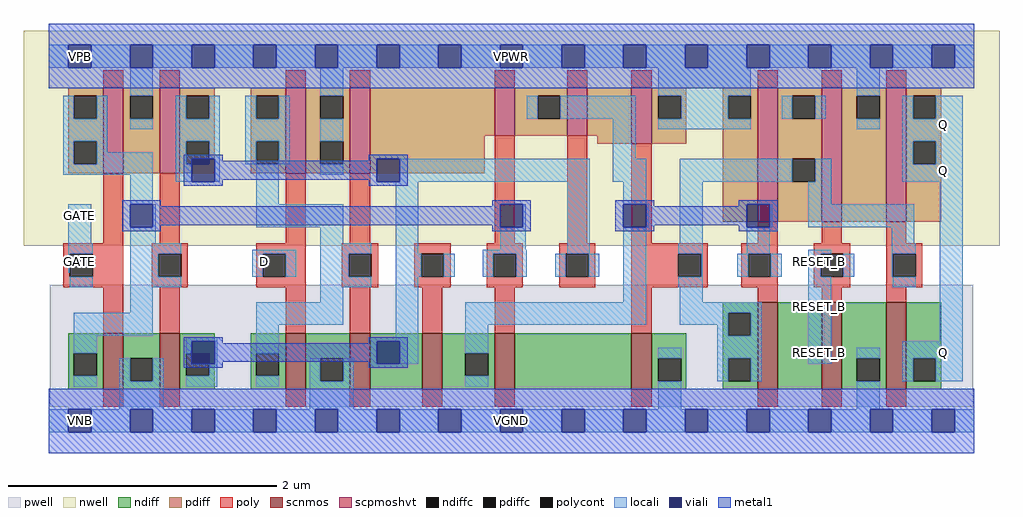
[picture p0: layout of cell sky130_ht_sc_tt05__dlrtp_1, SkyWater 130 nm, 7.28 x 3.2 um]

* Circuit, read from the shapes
.subckt sky130_ht_sc_tt05__dlrtp_1 D GATE RESET_B VGND VNB VPB VPWR Q
XM1 VGND GATE n1 VNB sky130_fd_pr__nfet_01v8 w=0.42 l=0.15
XM2 n2 n1 VGND VNB sky130_fd_pr__nfet_01v8 w=0.42 l=0.15
XM3 VGND D n3 VNB sky130_fd_pr__nfet_01v8 w=0.42 l=0.15
XM4 n4 n3 VGND VNB sky130_fd_pr__nfet_01v8 w=0.42 l=0.15
XM5 n5 n2 n4 VNB sky130_fd_pr__nfet_01v8 w=0.42 l=0.15
XM6 n6 n1 n5 VNB sky130_fd_pr__nfet_01v8 w=0.42 l=0.15
XM7 VGND n7 n6 VNB sky130_fd_pr__nfet_01v8 w=0.42 l=0.15
XM8 n8 n5 n7 VNB sky130_fd_pr__nfet_01v8 w=0.65 l=0.15
XM9 VGND RESET_B n8 VNB sky130_fd_pr__nfet_01v8 w=0.65 l=0.15
XM10 Q n7 VGND VNB sky130_fd_pr__nfet_01v8 w=0.65 l=0.15
XM11 VPWR GATE n1 VPB sky130_fd_pr__pfet_01v8_hvt w=0.64 l=0.15
XM12 n2 n1 VPWR VPB sky130_fd_pr__pfet_01v8_hvt w=0.64 l=0.15
XM13 VPWR D n3 VPB sky130_fd_pr__pfet_01v8_hvt w=0.64 l=0.15
XM14 n9 n3 VPWR VPB sky130_fd_pr__pfet_01v8_hvt w=0.64 l=0.15
XM15 n5 n1 n9 VPB sky130_fd_pr__pfet_01v8_hvt w=0.36 l=0.15
XM16 n10 n2 n5 VPB sky130_fd_pr__pfet_01v8_hvt w=0.36 l=0.15
XM17 VPWR n7 n10 VPB sky130_fd_pr__pfet_01v8_hvt w=0.42 l=0.15
XM18 n7 n5 VPWR VPB sky130_fd_pr__pfet_01v8_hvt w=1 l=0.15
XM19 VPWR RESET_B n7 VPB sky130_fd_pr__pfet_01v8_hvt w=1 l=0.15
XM20 Q n7 VPWR VPB sky130_fd_pr__pfet_01v8_hvt w=1 l=0.15
.ends

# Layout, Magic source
magic
tech sky130A
magscale 1 2
<< nwell >>
rect -38 261 1418 582
<< pwell >>
rect 1 21 1379 203
rect 29 -17 63 21
<< scnmos >>
rect 1057 47 1087 177
rect 1153 47 1183 177
rect 1249 47 1279 177
rect 81 47 111 131
rect 165 47 195 131
rect 353 47 383 131
rect 449 47 479 131
rect 557 47 587 131
rect 665 47 695 131
rect 869 47 899 131
<< scpmoshvt >>
rect 1057 297 1087 497
rect 1153 297 1183 497
rect 1249 297 1279 497
rect 81 369 111 497
rect 165 369 195 497
rect 353 369 383 497
rect 449 369 479 497
rect 665 425 695 497
rect 773 425 803 497
rect 869 413 899 497
<< ndiff >>
rect 1279 47 1331 59
rect 1279 59 1289 93
rect 1323 59 1331 93
rect 1279 93 1331 177
rect 1183 47 1249 59
rect 1183 59 1205 93
rect 1239 59 1249 93
rect 1183 93 1249 177
rect 1005 47 1057 59
rect 1005 59 1013 93
rect 1047 59 1057 93
rect 1005 93 1057 127
rect 1005 127 1013 161
rect 1047 127 1057 161
rect 1005 161 1057 177
rect 1087 47 1153 177
rect 695 47 869 131
rect 899 47 951 59
rect 899 59 909 93
rect 943 59 951 93
rect 899 93 951 131
rect 587 47 665 67
rect 587 67 621 101
rect 655 67 665 101
rect 587 101 665 131
rect 479 47 557 131
rect 383 47 449 59
rect 383 59 405 93
rect 439 59 449 93
rect 383 93 449 131
rect 195 47 247 67
rect 195 67 205 101
rect 239 67 247 101
rect 195 101 247 131
rect 111 47 165 59
rect 111 59 121 93
rect 155 59 165 93
rect 111 93 165 131
rect 29 47 81 67
rect 29 67 37 101
rect 71 67 81 101
rect 29 101 81 131
rect 301 47 353 67
rect 301 67 309 101
rect 343 67 353 101
rect 301 101 353 131
<< pdiff >>
rect 818 413 869 425
rect 803 425 869 497
rect 899 413 951 451
rect 899 451 909 485
rect 943 451 951 485
rect 899 485 951 497
rect 301 369 353 383
rect 301 383 309 417
rect 343 383 353 417
rect 301 417 353 451
rect 301 451 309 485
rect 343 451 353 485
rect 301 485 353 497
rect 29 369 81 383
rect 29 383 37 417
rect 71 383 81 417
rect 29 417 81 451
rect 29 451 37 485
rect 71 451 81 485
rect 29 485 81 497
rect 1005 297 1057 451
rect 1005 451 1013 485
rect 1047 451 1057 485
rect 1005 485 1057 497
rect 1087 297 1153 357
rect 1087 357 1109 391
rect 1143 357 1153 391
rect 1087 391 1153 451
rect 1087 451 1109 485
rect 1143 451 1153 485
rect 1087 485 1153 497
rect 1183 297 1249 451
rect 1183 451 1205 485
rect 1239 451 1249 485
rect 1183 485 1249 497
rect 111 369 165 451
rect 111 451 121 485
rect 155 451 165 485
rect 111 485 165 497
rect 195 369 247 383
rect 195 383 205 417
rect 239 383 247 417
rect 195 417 247 451
rect 195 451 205 485
rect 239 451 247 485
rect 195 485 247 497
rect 383 369 449 383
rect 383 383 405 417
rect 439 383 449 417
rect 383 417 449 451
rect 383 451 405 485
rect 439 451 449 485
rect 383 485 449 497
rect 479 369 650 425
rect 479 425 665 497
rect 695 425 773 451
rect 695 451 729 485
rect 763 451 773 485
rect 695 485 773 497
rect 1279 297 1331 383
rect 1279 383 1289 417
rect 1323 383 1331 417
rect 1279 417 1331 451
rect 1279 451 1289 485
rect 1323 451 1331 485
rect 1279 485 1331 497
<< ndiffc >>
rect 1013 127 1047 161
rect 621 67 655 101
rect 309 67 343 101
rect 205 67 239 101
rect 37 67 71 101
rect 121 59 155 93
rect 909 59 943 93
rect 1289 59 1323 93
rect 1013 59 1047 93
rect 405 59 439 93
rect 1205 59 1239 93
<< pdiffc >>
rect 729 451 763 485
rect 205 451 239 485
rect 121 451 155 485
rect 1013 451 1047 485
rect 909 451 943 485
rect 309 451 343 485
rect 405 451 439 485
rect 37 451 71 485
rect 1109 451 1143 485
rect 1205 451 1239 485
rect 1289 451 1323 485
rect 1289 383 1323 417
rect 405 383 439 417
rect 205 383 239 417
rect 37 383 71 417
rect 309 383 343 417
rect 1109 357 1143 391
<< poly >>
rect 869 497 899 523
rect 1249 497 1279 523
rect 1153 497 1183 523
rect 1057 497 1087 523
rect 773 497 803 523
rect 665 497 695 523
rect 449 497 479 523
rect 353 497 383 523
rect 165 497 195 523
rect 81 497 111 523
rect 761 199 815 215
rect 761 215 771 249
rect 805 215 815 249
rect 761 249 815 265
rect 773 265 803 425
rect 665 131 695 199
rect 653 199 707 215
rect 653 215 663 249
rect 697 215 707 249
rect 653 249 707 265
rect 665 265 695 425
rect 869 131 899 199
rect 869 199 983 215
rect 869 215 939 249
rect 973 215 983 249
rect 869 249 983 265
rect 869 265 899 413
rect 165 131 195 199
rect 153 199 207 215
rect 153 215 163 249
rect 197 215 207 249
rect 153 249 207 265
rect 165 265 195 369
rect 81 131 111 199
rect 21 199 111 215
rect 21 215 31 249
rect 65 215 111 249
rect 21 249 111 265
rect 81 265 111 369
rect 353 131 383 199
rect 309 199 383 215
rect 309 215 319 249
rect 353 215 383 249
rect 309 249 383 265
rect 353 265 383 369
rect 449 131 479 199
rect 437 199 491 215
rect 437 215 447 249
rect 481 215 491 249
rect 437 249 491 265
rect 449 265 479 369
rect 1249 177 1279 199
rect 1249 199 1303 215
rect 1249 215 1259 249
rect 1293 215 1303 249
rect 1249 249 1303 265
rect 1249 265 1279 297
rect 1153 177 1183 199
rect 1141 199 1195 215
rect 1141 215 1151 249
rect 1185 215 1195 249
rect 1141 249 1195 265
rect 1153 265 1183 297
rect 1057 177 1087 199
rect 1033 199 1087 215
rect 1033 215 1043 249
rect 1077 215 1087 249
rect 1033 249 1087 265
rect 1057 265 1087 297
rect 557 131 587 199
rect 545 199 599 215
rect 545 215 555 249
rect 589 215 599 249
rect 545 249 599 265
rect 165 21 195 47
rect 1057 21 1087 47
rect 1153 21 1183 47
rect 1249 21 1279 47
rect 353 21 383 47
rect 449 21 479 47
rect 557 21 587 47
rect 665 21 695 47
rect 869 21 899 47
rect 81 21 111 47
<< polycont >>
rect 1151 215 1185 249
rect 319 215 353 249
rect 663 215 697 249
rect 1043 215 1077 249
rect 555 215 589 249
rect 1259 215 1293 249
rect 163 215 197 249
rect 939 215 973 249
rect 447 215 481 249
rect 771 215 805 249
rect 31 215 65 249
<< locali >>
rect 121 485 155 527
rect 63 527 121 561
rect 155 527 213 561
rect 1259 527 1317 561
rect 1351 527 1380 561
rect 1273 59 1289 93
rect 1323 59 1363 93
rect 1273 93 1363 119
rect 1329 119 1363 357
rect 1273 357 1363 383
rect 1273 383 1289 417
rect 1323 383 1363 417
rect 1273 417 1363 451
rect 1273 451 1289 485
rect 1323 451 1363 485
rect 189 357 213 383
rect 247 357 255 383
rect 189 383 205 391
rect 247 383 255 391
rect 189 391 205 417
rect 239 391 255 417
rect 189 417 255 451
rect 189 451 205 485
rect 239 451 255 485
rect 891 289 895 323
rect 857 323 891 357
rect 841 357 891 391
rect 841 391 875 451
rect 763 451 875 485
rect 309 101 343 143
rect 309 143 439 177
rect 405 177 439 199
rect 405 199 481 215
rect 405 215 447 249
rect 405 249 481 265
rect 405 265 439 289
rect 309 289 439 323
rect 309 323 343 383
rect 293 383 309 417
rect 343 383 359 417
rect 293 417 359 451
rect 293 451 309 485
rect 343 451 359 485
rect 1143 451 1159 485
rect 713 451 729 485
rect 1093 451 1109 485
rect 121 435 155 451
rect 1205 435 1239 451
rect 405 417 439 451
rect 997 59 1013 93
rect 1047 59 1063 93
rect 997 93 1063 127
rect 997 127 1013 143
rect 1047 127 1063 143
rect 941 143 1013 161
rect 1047 143 1063 161
rect 941 161 1063 177
rect 941 177 975 199
rect 939 199 975 215
rect 973 215 975 249
rect 939 249 975 265
rect 941 265 975 357
rect 941 357 1109 391
rect 1259 199 1293 215
rect 1257 215 1259 249
rect 1257 249 1293 265
rect 1257 265 1291 289
rect 1133 289 1291 323
rect 1133 323 1167 357
rect 1143 357 1167 391
rect 405 367 439 383
rect 1027 215 1043 249
rect 1041 249 1075 289
rect 37 101 71 127
rect 37 127 155 161
rect 121 161 155 199
rect 121 199 197 215
rect 121 215 163 249
rect 121 249 197 265
rect 121 265 159 289
rect 155 289 159 323
rect 121 323 155 367
rect 21 367 155 383
rect 21 383 37 401
rect 71 383 155 401
rect 21 401 37 417
rect 71 401 87 417
rect 21 417 87 451
rect 21 451 37 485
rect 71 451 87 485
rect 29 221 31 249
rect 29 249 65 265
rect 29 265 63 323
rect 647 215 663 249
rect 697 215 713 249
rect 647 249 713 255
rect 673 255 711 289
rect 707 289 711 323
rect 1075 289 1079 323
rect 1133 85 1167 215
rect 1133 215 1151 249
rect 1133 249 1167 255
rect 303 215 319 249
rect 353 215 369 249
rect 303 249 369 255
rect 589 215 605 249
rect 1185 215 1201 249
rect 1077 215 1093 249
rect 755 215 771 249
rect 31 199 65 215
rect 205 51 251 67
rect 239 67 251 85
rect 247 85 251 101
rect 205 101 213 119
rect 247 101 251 119
rect 205 119 251 125
rect 523 85 551 119
rect 517 119 551 215
rect 517 215 555 249
rect 805 215 821 249
rect 517 249 551 357
rect 773 249 807 357
rect 523 357 807 391
rect 1205 93 1239 109
rect 909 93 943 109
rect 1351 -17 1380 17
rect 37 51 71 67
rect 309 51 343 67
rect 621 51 655 67
rect 0 527 29 561
rect 405 485 439 527
rect 431 527 489 561
rect 339 527 397 561
rect 247 527 305 561
rect 909 435 1047 451
rect 943 451 1013 485
rect 909 485 1047 527
rect 891 527 949 561
rect 983 527 1041 561
rect 799 527 857 561
rect 707 527 765 561
rect 615 527 673 561
rect 523 527 581 561
rect 1205 485 1239 527
rect 1167 527 1225 561
rect 1075 527 1133 561
rect 621 101 655 143
rect 621 143 891 177
rect 857 177 891 289
rect 1259 -17 1317 17
rect 1167 -17 1225 17
rect 1205 17 1239 59
rect 1075 -17 1133 17
rect 891 -17 949 17
rect 983 -17 1041 17
rect 909 17 943 59
rect 799 -17 857 17
rect 339 -17 397 17
rect 431 -17 489 17
rect 523 -17 581 17
rect 615 -17 673 17
rect 707 -17 765 17
rect 389 17 455 59
rect 389 59 405 93
rect 439 59 455 93
rect 63 -17 121 17
rect 155 -17 213 17
rect 247 -17 305 17
rect 105 17 171 59
rect 105 59 121 93
rect 155 59 171 93
rect 0 -17 29 17
<< viali >>
rect 1317 527 1351 561
rect 1225 527 1259 561
rect 1133 527 1167 561
rect 1041 527 1075 561
rect 949 527 983 561
rect 857 527 891 561
rect 765 527 799 561
rect 673 527 707 561
rect 581 527 615 561
rect 489 527 523 561
rect 397 527 431 561
rect 121 527 155 561
rect 213 527 247 561
rect 305 527 339 561
rect 29 527 63 561
rect 213 357 247 391
rect 489 357 523 391
rect 673 289 707 323
rect 857 289 891 323
rect 1041 289 1075 323
rect 121 289 155 323
rect 489 85 523 119
rect 213 85 247 119
rect 857 -17 891 17
rect 1133 -17 1167 17
rect 673 -17 707 17
rect 949 -17 983 17
rect 581 -17 615 17
rect 213 -17 247 17
rect 305 -17 339 17
rect 121 -17 155 17
rect 29 -17 63 17
rect 397 -17 431 17
rect 489 -17 523 17
rect 1041 -17 1075 17
rect 765 -17 799 17
rect 1225 -17 1259 17
rect 1317 -17 1351 17
<< metal1 >>
rect 0 496 1380 527
rect 0 527 29 561
rect 63 527 121 561
rect 155 527 213 561
rect 247 527 305 561
rect 339 527 397 561
rect 431 527 489 561
rect 523 527 581 561
rect 615 527 673 561
rect 707 527 765 561
rect 799 527 857 561
rect 891 527 949 561
rect 983 527 1041 561
rect 1075 527 1133 561
rect 1167 527 1225 561
rect 1259 527 1317 561
rect 1351 527 1380 561
rect 0 561 1380 592
rect 201 351 259 357
rect 477 351 535 357
rect 201 357 213 360
rect 247 357 259 360
rect 477 357 489 360
rect 523 357 535 360
rect 201 360 213 388
rect 247 360 489 388
rect 523 360 535 388
rect 201 388 213 391
rect 247 388 259 391
rect 477 388 489 391
rect 523 388 535 391
rect 201 391 259 397
rect 477 391 535 397
rect 845 283 903 289
rect 1029 283 1087 289
rect 845 289 857 292
rect 891 289 903 292
rect 1029 289 1041 292
rect 1075 289 1087 292
rect 845 292 857 320
rect 891 292 1041 320
rect 1075 292 1087 320
rect 845 320 857 323
rect 891 320 903 323
rect 1029 320 1041 323
rect 1075 320 1087 323
rect 845 323 903 329
rect 1029 323 1087 329
rect 109 283 167 289
rect 661 283 719 289
rect 109 289 121 292
rect 155 289 167 292
rect 661 289 673 292
rect 707 289 719 292
rect 109 292 121 320
rect 155 292 673 320
rect 707 292 719 320
rect 109 320 121 323
rect 155 320 167 323
rect 661 320 673 323
rect 707 320 719 323
rect 109 323 167 329
rect 661 323 719 329
rect 201 79 259 85
rect 477 79 535 85
rect 201 85 213 88
rect 247 85 259 88
rect 477 85 489 88
rect 523 85 535 88
rect 201 88 213 116
rect 247 88 489 116
rect 523 88 535 116
rect 201 116 213 119
rect 247 116 259 119
rect 477 116 489 119
rect 523 116 535 119
rect 201 119 259 125
rect 477 119 535 125
rect 0 -48 1380 -17
rect 0 -17 29 17
rect 63 -17 121 17
rect 155 -17 213 17
rect 247 -17 305 17
rect 339 -17 397 17
rect 431 -17 489 17
rect 523 -17 581 17
rect 615 -17 673 17
rect 707 -17 765 17
rect 799 -17 857 17
rect 891 -17 949 17
rect 983 -17 1041 17
rect 1075 -17 1133 17
rect 1167 -17 1225 17
rect 1259 -17 1317 17
rect 1351 -17 1380 17
rect 0 17 1380 48
<< labels >>
flabel locali s 29 221 63 255 0 FreeSans 200 0 0 0 GATE
port 2 nsew signal input
flabel locali s 29 289 63 323 0 FreeSans 200 0 0 0 GATE
port 2 nsew signal input
flabel locali s 305 221 339 255 0 FreeSans 200 0 0 0 D
port 1 nsew signal input
flabel locali s 1133 85 1167 119 0 FreeSans 200 0 0 0 RESET_B
port 3 nsew signal input
flabel locali s 1133 153 1167 187 0 FreeSans 200 0 0 0 RESET_B
port 3 nsew signal input
flabel locali s 1133 221 1167 255 0 FreeSans 200 0 0 0 RESET_B
port 3 nsew signal input
flabel locali s 1317 85 1351 119 0 FreeSans 200 0 0 0 Q
port 8 nsew signal output
flabel locali s 1317 357 1351 391 0 FreeSans 200 0 0 0 Q
port 8 nsew signal output
flabel locali s 1317 425 1351 459 0 FreeSans 200 0 0 0 Q
port 8 nsew signal output
flabel pwell s 30 -17 64 17 0 FreeSans 200 0 0 0 VNB
port 5 nsew ground bidirectional
flabel nwell s 30 527 64 561 0 FreeSans 200 0 0 0 VPB
port 6 nsew power bidirectional
flabel metal1 s 30 -17 64 17 0 FreeSans 200 0 0 0 VGND
port 4 nsew ground bidirectional abutment
flabel metal1 s 30 527 64 561 0 FreeSans 200 0 0 0 VPWR
port 7 nsew power bidirectional abutment
rlabel metal1 s 0 -48 1380 48 1 VGND
port 4 nsew ground bidirectional abutment
rlabel metal1 s 0 496 1380 592 1 VPWR
port 7 nsew power bidirectional abutment
rlabel comment s 0 0 0 0 4 dlrtp_1
<< properties >>
string FIXED_BBOX 0 0 1380 544
string GDS_FILE $PDKPATH/libs.ref/sky130_fd_sc_hd/gds/sky130_ht_sc_tt05.gds
string GDS_START 13274
string GDS_END 23802
string LEFclass CORE
string LEFsite unithd
string LEFsymmetry X Y R90
<< end >>
